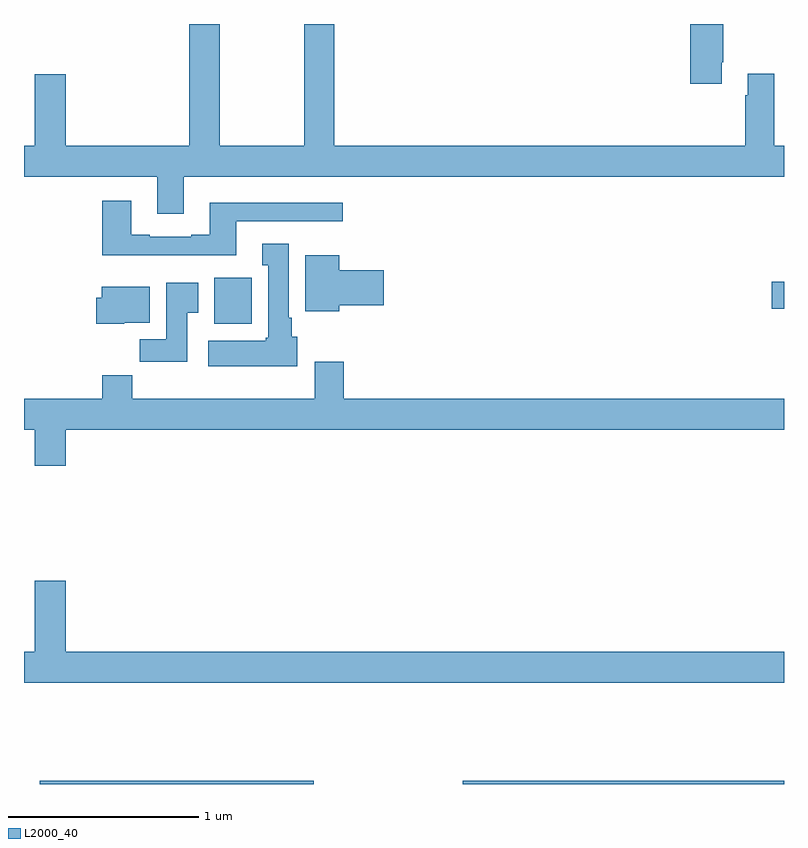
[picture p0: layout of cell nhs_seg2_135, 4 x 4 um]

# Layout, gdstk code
import gdstk
lib = gdstk.Library(unit=1e-6, precision=1e-09)
def R(c, l, rs):  # rectangles x0, y0, x1, y1
    for r in rs: c.add(gdstk.rectangle(r[:2], r[2:], *l))
def P(c, l, *ps):  # polygons
    for p in ps: c.add(gdstk.Polygon(p, *l))
L2000_40 = (2000, 40)

nhs_seg2_135 = lib.new_cell('nhs_seg2_135')
R(nhs_seg2_135, L2000_40, [(117.082,617.8,118.526,617.816), (119.309,617.8,121,617.816), (118.001,620.222,118.198,620.464), (120.936,620.302,121,620.444)])
P(nhs_seg2_135, L2000_40, [(117.841,620.996),(121,620.996),(121,621.16),(120.949,621.16),(120.949,621.538),(120.809,621.538),(120.809,621.425),(120.797,621.425),(120.797,621.16),(118.634,621.16),(118.634,621.8),(118.474,621.8),(118.474,621.16),(118.029,621.16),(118.029,621.8),(117.869,621.8),(117.869,621.16),(117.22,621.16),(117.22,621.535),(117.056,621.535),(117.056,621.16),(117,621.16),(117,620.996),(117.701,620.996),(117.701,620.802),(117.841,620.802)],
  [(120.673,621.598),(120.681,621.598),(120.681,621.8),(120.506,621.8),(120.506,621.486),(120.673,621.486)],
  [(118.117,620.763),(118.678,620.763),(118.678,620.86),(117.977,620.86),(117.977,620.692),(117.881,620.692),(117.881,620.679),(117.661,620.679),(117.661,620.692),(117.565,620.692),(117.565,620.869),(117.413,620.869),(117.413,620.582),(118.117,620.582)],
  [(118.438,620.154),(118.408,620.154),(118.408,620.254),(118.393,620.254),(118.393,620.644),(118.253,620.644),(118.253,620.531),(118.286,620.531),(118.286,620.148),(118.273,620.148),(118.273,620.134),(117.969,620.134),(117.969,620),(118.438,620)],
  [(118.66,620.321),(118.894,620.321),(118.894,620.504),(118.66,620.504),(118.66,620.584),(118.481,620.584),(118.481,620.288),(118.66,620.288)],
  [(117.859,620.281),(117.916,620.281),(117.916,620.437),(117.749,620.437),(117.749,620.14),(117.61,620.14),(117.61,620.022),(117.859,620.022)],
  [(117.528,620.228),(117.661,620.228),(117.661,620.416),(117.41,620.416),(117.41,620.358),(117.38,620.358),(117.38,620.222),(117.528,620.222)],
  [(117.22,619.664),(121,619.664),(121,619.828),(118.682,619.828),(118.682,620.023),(118.529,620.023),(118.529,619.828),(117.569,619.828),(117.569,619.952),(117.413,619.952),(117.413,619.828),(117,619.828),(117,619.664),(117.056,619.664),(117.056,619.476),(117.22,619.476)],
  [(121,618.496),(117.22,618.496),(117.22,618.871),(117.056,618.871),(117.056,618.496),(117,618.496),(117,618.332),(121,618.332)])

lib.write_gds('nhs_seg2_135.gds')
